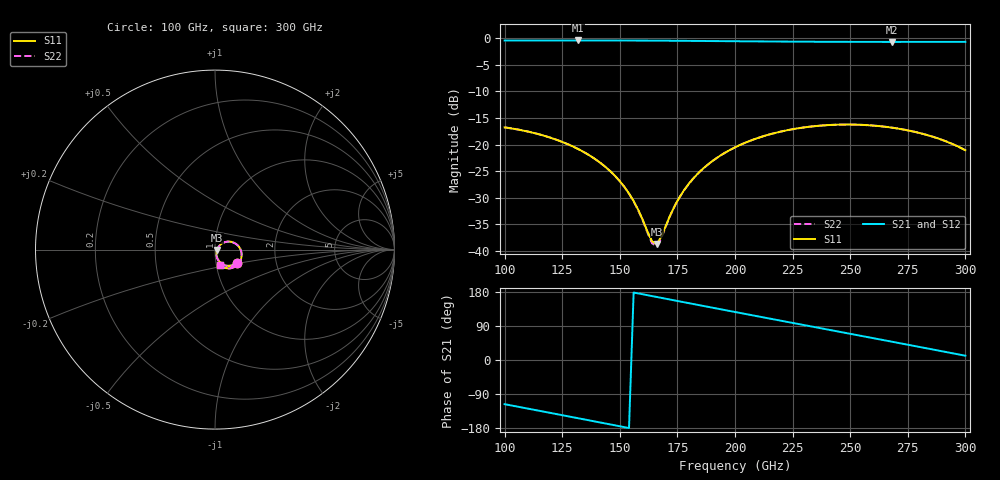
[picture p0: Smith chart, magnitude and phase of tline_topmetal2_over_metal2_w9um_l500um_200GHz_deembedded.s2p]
! Created with skrf 2.2.0 (http://scikit-rf.org).
# GHz S DB R 50.0
! Port[1] = P1
! Port[2] = P2
!freq dBS11 angS11 dBS21 angS21 dBS12 angS12 dBS22 angS22
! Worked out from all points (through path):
!   101 points, 100 GHz to 300 GHz, reference 50 ohm
!   highest |S21| = -0.41 dB at 132 GHz (marker M1); lowest = -0.7 dB at 268 GHz (marker M2)
!   group delay of S21, straight-line fit = 3.22 ps
!   lowest |S11| = -38.7 dB at 166 GHz (marker M3), VSWR 1.02, Z = 51.2 - j0.207 ohm
!   |S11| at or under -10 dB: start of sweep to end of sweep
!   |S22| runs from -39.1 to -16.2 dB; largest |S21 - S12| = 1.1e-14
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100  -16.76 -31.1  -0.41 -116.6  -0.41 -116.6  -16.76 -31.6
116  -18.19 -47.5  -0.41 -135.1  -0.41 -135.1  -18.19 -48.0
132  -20.85 -62.9  -0.41 -153.8  -0.41 -153.8  -20.85 -63.6
134  -21.31 -64.7  -0.41 -156.1  -0.41 -156.1  -21.31 -65.4
144  -24.28 -72.4  -0.41 -167.8  -0.41 -167.8  -24.29 -73.3
152  -27.96 -75.3  -0.42 -177.2  -0.42 -177.2  -27.99 -76.5
158  -32.28 -70.3  -0.43 175.7  -0.43 175.7  -32.36 -71.9
164  -38.21 -35.5  -0.44 168.7  -0.44 168.7  -38.57 -36.9
166  -38.70 -10.0  -0.44 166.3  -0.44 166.3  -39.11 -10.2
168  -37.33 12.6  -0.45 164.0  -0.45 164.0  -37.63 13.4
174  -31.38 38.7  -0.47 157.0  -0.47 157.0  -31.44 39.2
180  -27.34 41.8  -0.48 149.9  -0.48 149.9  -27.36 42.0
188  -23.83 38.2  -0.51 140.6  -0.51 140.6  -23.84 38.1
200  -20.52 28.1  -0.55 126.7  -0.55 126.7  -20.52 27.8
210  -18.75 18.2  -0.59 115.1  -0.59 115.1  -18.74 17.9
218  -17.75 10.0  -0.61 105.9  -0.61 105.9  -17.74 9.6
234  -16.56 -6.7  -0.65 87.5  -0.65 87.5  -16.55 -7.2
250  -16.23 -23.5  -0.67 69.1  -0.67 69.1  -16.23 -24.0
258  -16.36 -31.8  -0.67 59.9  -0.67 59.9  -16.36 -32.4
268  -16.81 -42.1  -0.68 48.4  -0.68 48.4  -16.80 -42.7
284  -18.28 -58.1  -0.67 29.9  -0.67 29.9  -18.27 -58.7
300  -21.07 -72.5  -0.67 11.3  -0.67 11.3  -21.07 -73.1
